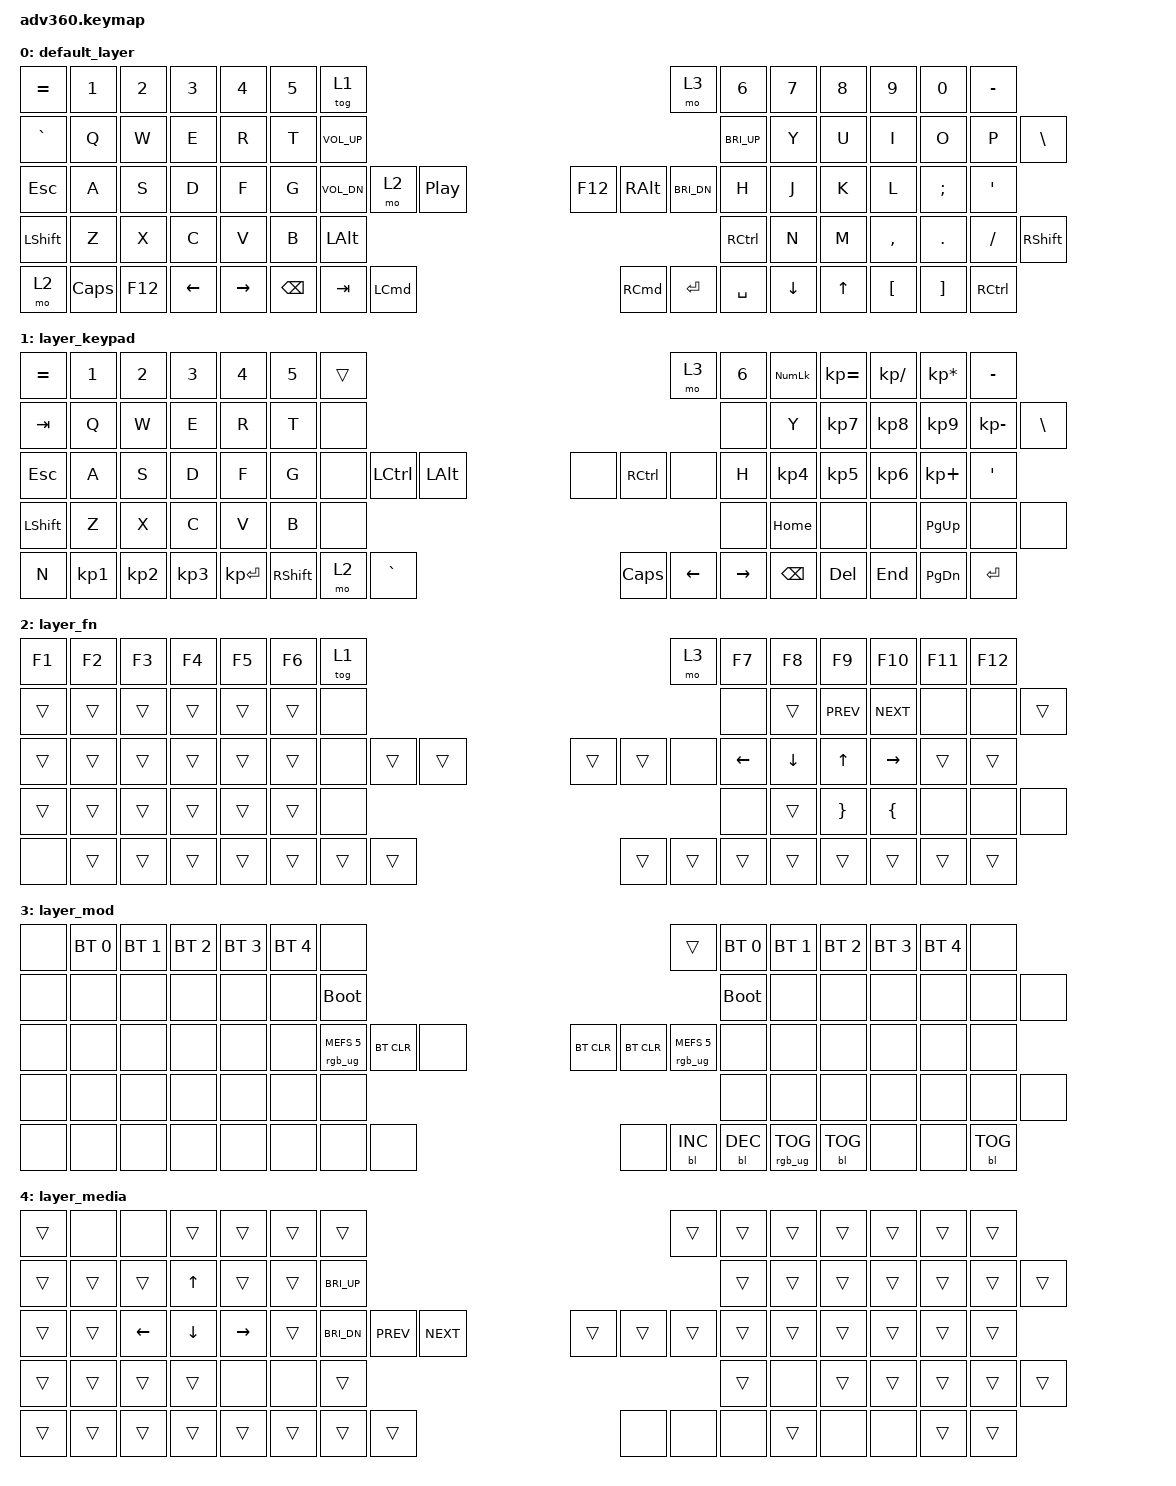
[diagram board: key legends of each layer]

/*
 * Copyright (c) 2020 The ZMK Contributors
 *
 * SPDX-License-Identifier: MIT
 */


/* THIS FILE WAS GENERATED!
 *
 * This file was generated automatically. You may or may not want to
 * edit it directly.
 */

#include <behaviors.dtsi>
#include <dt-bindings/zmk/keys.h>
#include <dt-bindings/zmk/bt.h>
#include <dt-bindings/zmk/rgb.h>
#include <dt-bindings/zmk/backlight.h>

/ {
  behaviors {
    #include "macros.dtsi"
    #include "version.dtsi"

    hm: homerow_mods {
        compatible = "zmk,behavior-hold-tap";
        label = "HOMEROW_MODS";
        #binding-cells = <2>;
        tapping-term-ms = <200>;
        quick_tap_ms = <175>;
        flavor = "tap-preferred";
        bindings = <&kp>, <&kp>;
    };
  };

    keymap {
        compatible = "zmk,keymap";


        default_layer {
            bindings = <
 &kp EQUAL    &kp N1   &kp N2          &kp N3           &kp N4  &kp N5                  &tog 1                                                                          &mo 3  &kp N6          &kp N7        &kp N8            &kp N9             &kp N0        &kp MINUS
 &kp GRAVE     &kp Q    &kp W           &kp E            &kp R   &kp T            &kp C_VOL_UP                                                                   &kp C_BRI_UP   &kp Y           &kp U         &kp I             &kp O              &kp P         &kp BSLH
   &kp ESC     &kp A    &kp S           &kp D            &kp F   &kp G            &kp C_VOL_DN    &mo 2  &kp C_PLAY_PAUSE                    &kp F12   &kp RALT  &kp C_BRI_DN   &kp H           &kp J         &kp K             &kp L           &kp SEMI          &kp SQT
 &kp LSHFT     &kp Z    &kp X           &kp C            &kp V   &kp B                                           &kp LALT                  &kp RCTRL                            &kp N           &kp M     &kp COMMA           &kp DOT          &kp SLASH  &kp RIGHT_SHIFT
     &mo 2  &kp CAPS  &kp F12  &kp LEFT_ARROW  &kp RIGHT_ARROW                        &kp BSPC  &kp TAB          &kp LCMD                   &kp RCMD  &kp ENTER     &kp SPACE          &kp DOWN_ARROW  &kp UP_ARROW  &kp LEFT_BRACKET  &kp RIGHT_BRACKET        &kp RCTRL
            >;
        };

        layer_keypad {
            bindings = <
 &kp EQUAL     &kp N1     &kp N2     &kp N3        &kp N4  &kp N5               &trans                                                                 &mo 3    &kp N6  &kp KP_NUM  &kp KP_EQUAL  &kp KP_DIVIDE  &kp KP_MULTIPLY  &kp MINUS
   &kp TAB      &kp Q      &kp W      &kp E         &kp R   &kp T                &none                                                                 &none     &kp Y   &kp KP_N7     &kp KP_N8      &kp KP_N9     &kp KP_MINUS   &kp BSLH
   &kp ESC      &kp A      &kp S      &kp D         &kp F   &kp G                &none  &kp LCTRL   &kp LALT                     &none  &kp RCTRL      &none     &kp H   &kp KP_N4     &kp KP_N5      &kp KP_N6      &kp KP_PLUS    &kp SQT
 &kp LSHFT      &kp Z      &kp X      &kp C         &kp V   &kp B                                      &none                     &none                        &kp HOME       &none         &none      &kp PG_UP            &none      &none
     &kp N  &kp KP_N1  &kp KP_N2  &kp KP_N3  &kp KP_ENTER                    &kp RSHFT      &mo 2  &kp GRAVE                  &kp CAPS   &kp LEFT  &kp RIGHT              &kp BSPC       &kp DEL        &kp END        &kp PG_DN  &kp ENTER
            >;
        };

        layer_fn {
            bindings = <
 &kp F1  &kp F2  &kp F3  &kp F4  &kp F5  &kp F6            &tog 1                                                   &mo 3          &kp F7           &kp F8          &kp F9          &kp F10  &kp F11  &kp F12
 &trans  &trans  &trans  &trans  &trans  &trans             &none                                                   &none          &trans       &kp C_PREV      &kp C_NEXT            &none    &none   &trans
 &trans  &trans  &trans  &trans  &trans  &trans             &none  &trans  &trans                  &trans  &trans   &none  &kp LEFT_ARROW   &kp DOWN_ARROW    &kp UP_ARROW  &kp RIGHT_ARROW   &trans   &trans
 &trans  &trans  &trans  &trans  &trans  &trans                             &none                   &none                          &trans  &kp RIGHT_BRACE  &kp LEFT_BRACE            &none    &none    &none
  &none  &trans  &trans  &trans  &trans                    &trans  &trans  &trans                  &trans  &trans  &trans                           &trans          &trans           &trans   &trans   &trans
            >;
        };

        layer_mod {
            bindings = <
  &none  &bt BT_SEL 0  &bt BT_SEL 1  &bt BT_SEL 2  &bt BT_SEL 3  &bt BT_SEL 4                             &none                                                                              &trans  &bt BT_SEL 0     &bt BT_SEL 1  &bt BT_SEL 2  &bt BT_SEL 3  &bt BT_SEL 4       &none
  &none         &none         &none         &none         &none         &none                       &bootloader                                                                         &bootloader         &none            &none         &none         &none         &none       &none
  &none         &none         &none         &none         &none         &none            &rgb_ug RGB_MEFS_CMD 5  &bt BT_CLR   &none                  &bt BT_CLR  &bt BT_CLR  &rgb_ug RGB_MEFS_CMD 5         &none            &none         &none         &none         &none       &none
  &none         &none         &none         &none         &none         &none                                                 &none                       &none                                             &none            &none         &none         &none         &none       &none
  &none         &none         &none         &none         &none                                           &none       &none   &none                       &none  &bl BL_INC              &bl BL_DEC                &rgb_ug RGB_TOG    &bl BL_TOG         &none         &none  &bl BL_TOG
            >;
        };

        layer_media {
            bindings = <
 &trans   &none           &none          &trans           &trans  &trans                  &trans                                                          &trans  &trans  &trans  &trans  &trans  &trans  &trans
 &trans  &trans          &trans    &kp UP_ARROW           &trans  &trans            &kp C_BRI_UP                                                          &trans  &trans  &trans  &trans  &trans  &trans  &trans
 &trans  &trans  &kp LEFT_ARROW  &kp DOWN_ARROW  &kp RIGHT_ARROW  &trans            &kp C_BRI_DN  &kp C_PREV  &kp C_NEXT                  &trans  &trans  &trans  &trans  &trans  &trans  &trans  &trans  &trans
 &trans  &trans          &trans          &trans            &none   &none                                          &trans                  &trans                   &none  &trans  &trans  &trans  &trans  &trans
 &trans  &trans          &trans          &trans           &trans                          &trans      &trans      &trans                   &none   &none   &none          &trans   &none   &none  &trans  &trans
            >;
        };

    };
};
